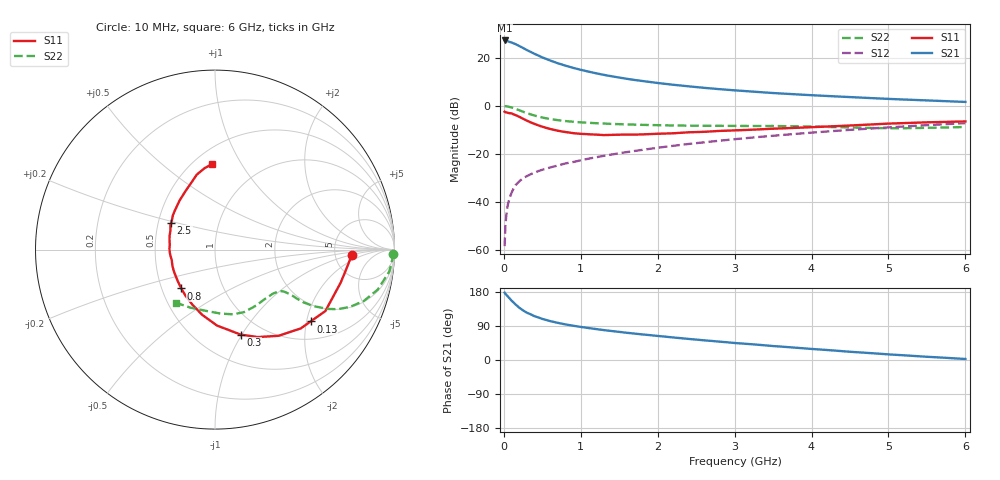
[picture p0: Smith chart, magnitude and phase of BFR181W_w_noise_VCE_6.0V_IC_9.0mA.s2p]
! (c) 2017  Infineon Technologies AG, Munich
! Infineon Technologies  Discrete & RF Semiconductors
! BFR181W
! VCE =  6.0 V,  IC =  9.0 mA
! Common Emitter S-Parameters:  Jan 2017
# GHz  S  MA  R  50
!  f  S11  S21  S12  S22
! GHz  MAG  ANG  MAG  ANG  MAG  ANG  MAG  ANG
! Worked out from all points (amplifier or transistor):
!   77 points, 10 MHz to 6 GHz, reference 50 ohm
!   highest |S21| = 27.3 dB at 10 MHz (marker M1)
!   |S21| within 3 dB of that: start of sweep to 241.7 MHz
!   unconditionally stable (mu >= 1): 1.088 GHz to 3.039 GHz
!   at 130 MHz: K = 0.24, MSG = 30.1 dB, |S12| = -34.2 dB
!   at 2.2 GHz: K = 1.06, MAG = 11.3 dB, |S12| = -16.6 dB
!   at 6 GHz: K = 0.85, MSG = 4.4 dB, |S12| = -7.1 dB
!   lowest NFmin = 1.18 dB at 450 MHz
!   S11 on the Smith chart (normalised r, x): 10 MHz: 7.30, -0.98; 130 MHz: 1.47, -2.12; 300 MHz: 0.79, -0.99; 800 MHz: 0.63, -0.30; 2.5 GHz: 0.58, +0.19; 6 GHz: 0.61, +0.76
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0.01  0.7628 -2.1  23.23 177.8  0.0012 80.8  0.9939 -1.3
0.02  0.7436 -7.2  22.8 174.7  0.0031 89.8  0.9916 -2.6
0.05  0.7241 -14.7  22.37 168.0  0.0085 81.7  0.9785 -7.2
0.06  0.7165 -17.5  22.05 165.8  0.0099 80.4  0.9686 -8.5
0.1  0.7039 -29.1  21.12 156.7  0.0155 77.7  0.9339 -13.8
0.13  0.6664 -36.9  20.11 151.0  0.0196 73.7  0.8985 -16.9
0.15  0.6489 -42.6  19.56 146.9  0.0223 71.9  0.8765 -19.1
0.2  0.5966 -53.6  17.8 138.1  0.0268 69.1  0.8169 -23.0
0.25  0.5423 -64.0  16.19 130.8  0.0315 64.8  0.7602 -25.9
0.3  0.4946 -73.2  14.65 124.8  0.0346 62.7  0.7084 -27.8
0.4  0.4237 -88.4  12.2 115.4  0.0412 61.7  0.6308 -29.9
0.5  0.3701 -101.2  10.3 108.5  0.047 60.6  0.5751 -30.8
0.6  0.3329 -111.9  8.902 102.8  0.0523 61.0  0.5357 -30.9
0.8  0.2868 -131.0  6.946 94.0  0.0636 63.5  0.4861 -30.8
1.1  0.2581 -153.6  5.208 84.4  0.0798 65.0  0.4469 -31.5
1.5  0.2525 -176.3  3.914 74.2  0.1034 66.1  0.4185 -34.2
2.1  0.2667 160.2  2.894 61.6  0.1414 65.9  0.3958 -41.8
2.5  0.2863 148.6  2.483 53.9  0.1683 64.7  0.3881 -48.4
3.1  0.3147 134.4  2.067 43.4  0.2105 62.1  0.384 -58.7
4.1  0.3676 116.0  1.649 27.8  0.2863 55.9  0.3702 -76.4
5.1  0.4351 102.3  1.386 13.6  0.3662 47.7  0.3445 -101.3
6  0.4775 91.8  1.216 2.7  0.4398 39.3  0.3663 -126.0
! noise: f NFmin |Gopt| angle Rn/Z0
0.45  1.18  0.17  16  0.21
0.9  1.23  0.16  31  0.21
1.9  1.65  0.05  107  0.2
2.4  1.82  0.03  116  0.23
